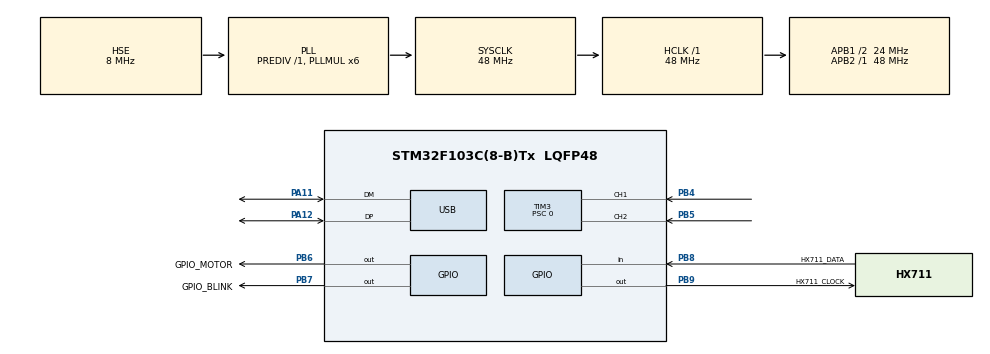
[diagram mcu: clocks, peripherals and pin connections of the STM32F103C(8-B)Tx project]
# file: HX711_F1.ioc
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Mcu.Family=STM32F1
Mcu.Name=STM32F103C(8-B)Tx
Mcu.Package=LQFP48
NVIC.PriorityGroup=NVIC_PRIORITYGROUP_4
NVIC.TIM3_IRQn=true\:0\:0\:false\:false\:true
NVIC.USB_LP_CAN1_RX0_IRQn=true\:0\:0\:false\:false\:true
PA0-WKUP.GPIO_PuPd=GPIO_PULLUP
PA0-WKUP.Signal=S_TIM2_CH1_ETR
PA1.GPIO_PuPd=GPIO_PULLUP
PA1.Signal=S_TIM2_CH2
PA11.Mode=Device
PA11.Signal=USB_DM
PA12.Mode=Device
PA12.Signal=USB_DP
PA13.Mode=Serial_Wire
PA13.Signal=SYS_JTMS-SWDIO
PA14.Mode=Serial_Wire
PA14.Signal=SYS_JTCK-SWCLK
PB4.GPIO_PuPd=GPIO_PULLUP
PB4.Signal=S_TIM3_CH1
PB5.GPIO_PuPd=GPIO_PULLUP
PB5.Signal=S_TIM3_CH2
PB6.GPIO_Label=GPIO_MOTOR
PB6.Signal=GPIO_Output
PB7.GPIO_Label=GPIO_BLINK
PB7.GPIO_ModeDefaultOutputPP=GPIO_MODE_OUTPUT_PP
PB7.Signal=GPIO_Output
PB8.GPIO_Label=HX711_DATA
PB8.GPIO_PuPd=GPIO_PULLUP
PB8.Signal=GPIO_Input
PB9.GPIO_Label=HX711_CLOCK
PB9.Signal=GPIO_Output
PD0-OSC_IN.Mode=HSE-External-Oscillator
PD0-OSC_IN.Signal=RCC_OSC_IN
PD1-OSC_OUT.Mode=HSE-External-Oscillator
PD1-OSC_OUT.Signal=RCC_OSC_OUT
ProjectManager.HeapSize=0x200
ProjectManager.StackSize=0x400
ProjectManager.TargetToolchain=EWARM
RCC.AHBFreq_Value=48000000
RCC.APB1CLKDivider=RCC_HCLK_DIV2
RCC.APB1Freq_Value=24000000
RCC.APB1TimFreq_Value=48000000
RCC.APB2Freq_Value=48000000
RCC.APB2TimFreq_Value=48000000
RCC.HCLKFreq_Value=48000000
RCC.HSIState=RCC_HSI_ON
RCC.PLLMUL=RCC_PLL_MUL6
RCC.PLLSourceVirtual=RCC_PLLSOURCE_HSE
RCC.SYSCLKFreq_VALUE=48000000
RCC.SYSCLKSource=RCC_SYSCLKSOURCE_PLLCLK
RCC.USBFreq_Value=48000000
SH.S_TIM2_CH1_ETR.0=TIM2_CH1
SH.S_TIM2_CH2.0=TIM2_CH2
SH.S_TIM3_CH1.0=TIM3_CH1,Encoder_Interface
SH.S_TIM3_CH2.0=TIM3_CH2,Encoder_Interface
TIM3.EncoderMode=TIM_ENCODERMODE_TI12
TIM3.Period=65535
TIM3.Prescaler=0
TIM3.TIM_MasterOutputTrigger=TIM_TRGO_UPDATE
USB_DEVICE.CLASS_NAME_FS=CDC
USB_DEVICE.VirtualModeFS=Cdc_FS
VP_USB_DEVICE_VS_USB_DEVICE_CDC_FS.Mode=CDC_FS
board=HX711_F1

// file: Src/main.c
/**
  ******************************************************************************
  * File Name          : main.c
  * Description        : Main program body
  ******************************************************************************
  *
  * Copyright (c) 2017 STMicroelectronics International N.V.
  * All rights reserved.
  *
  * Redistribution and use in source and binary forms, with or without
  * modification, are permitted, provided that the following conditions are met:
  *
  * 1. Redistribution of source code must retain the above copyright notice,
  *    this list of conditions and the following disclaimer.
  * 2. Redistributions in binary form must reproduce the above copyright notice,
  *    this list of conditions and the following disclaimer in the documentation
  *    and/or other materials provided with the distribution.
  * 3. Neither the name of STMicroelectronics nor the names of other
  *    contributors to this software may be used to endorse or promote products
  *    derived from this software without specific written permission.
  * 4. This software, including modifications and/or derivative works of this
  *    software, must execute solely and exclusively on microcontroller or
  *    microprocessor devices manufactured by or for STMicroelectronics.
  * 5. Redistribution and use of this software other than as permitted under
  *    this license is void and will automatically terminate your rights under
  *    this license.
  *
  * THIS SOFTWARE IS PROVIDED BY STMICROELECTRONICS AND CONTRIBUTORS "AS IS"
  * AND ANY EXPRESS, IMPLIED OR STATUTORY WARRANTIES, INCLUDING, BUT NOT
  * LIMITED TO, THE IMPLIED WARRANTIES OF MERCHANTABILITY, FITNESS FOR A
  * PARTICULAR PURPOSE AND NON-INFRINGEMENT OF THIRD PARTY INTELLECTUAL PROPERTY
  * RIGHTS ARE DISCLAIMED TO THE FULLEST EXTENT PERMITTED BY LAW. IN NO EVENT
  * SHALL STMICROELECTRONICS OR CONTRIBUTORS BE LIABLE FOR ANY DIRECT, INDIRECT,
  * INCIDENTAL, SPECIAL, EXEMPLARY, OR CONSEQUENTIAL DAMAGES (INCLUDING, BUT NOT
  * LIMITED TO, PROCUREMENT OF SUBSTITUTE GOODS OR SERVICES; LOSS OF USE, DATA,
  * OR PROFITS; OR BUSINESS INTERRUPTION) HOWEVER CAUSED AND ON ANY THEORY OF
  * LIABILITY, WHETHER IN CONTRACT, STRICT LIABILITY, OR TORT (INCLUDING
  * NEGLIGENCE OR OTHERWISE) ARISING IN ANY WAY OUT OF THE USE OF THIS SOFTWARE,
  * EVEN IF ADVISED OF THE POSSIBILITY OF SUCH DAMAGE.
  *
  ******************************************************************************
  */
#include "main.h"
#include "stm32f1xx_hal.h"
#include "usb_device.h"

/* USER CODE BEGIN Includes */
/*#include "usbd_cdc_if.h"
#include <stdlib.h>
#include <string.h>*/
/* USER CODE END Includes */

TIM_HandleTypeDef htim3;

/* USER CODE BEGIN PV */
/* Private variables ---------------------------------------------------------*/

/* USER CODE END PV */

void SystemClock_Config(void);
void Error_Handler(void);
static void MX_GPIO_Init(void);
static void MX_TIM3_Init(void);

/* USER CODE BEGIN PFP */
/* Private function prototypes -----------------------------------------------*/
extern uint8_t CDC_Transmit_FS(uint8_t* Buf, uint16_t Len);
//extern void HAL_Delay(__IO uint32_t Delay);
/* USER CODE END PFP */

/* USER CODE BEGIN 0 */
 uint8_t dataToSend[256];
 uint8_t l;
 int weight;
 int count;

/* USER CODE END 0 */

int main(void)
{

  /* USER CODE BEGIN 1 */
  for (uint8_t i = 0; i < 255; i++)
  {
    dataToSend[i] = 0;
  }
  /* USER CODE END 1 */

  /* MCU Configuration----------------------------------------------------------*/

  /* Reset of all peripherals, Initializes the Flash interface and the Systick. */
  HAL_Init();

  /* Configure the system clock */
  SystemClock_Config();

  /* Initialize all configured peripherals */
  MX_GPIO_Init();
  MX_USB_DEVICE_Init();
  MX_TIM3_Init();

  /* USER CODE BEGIN 2 */
  //Ресет микросхемы HX711
    HAL_GPIO_WritePin(HX711_CLOCK_GPIO_Port, HX711_CLOCK_Pin, GPIO_PIN_SET);  //PIN1
    HAL_Delay(50);
    HAL_GPIO_WritePin(HX711_CLOCK_GPIO_Port, HX711_CLOCK_Pin, GPIO_PIN_RESET);

    HAL_TIM_Base_Start(&htim3);
    HAL_TIM_Base_Start_IT(&htim3); //ЗАПУСК ПРЕРЫВАНИЙ ТАЙМЕРА

    count=0;

  /* USER CODE END 2 */

  /* Infinite loop */
  /* USER CODE BEGIN WHILE */
  while (1)
  {
//    sprintf((char*)dataToSend, "\r\n TEST");
//    l=strlen((char*)dataToSend);
//    CDC_Transmit_FS(dataToSend, l);
    HAL_GPIO_TogglePin(GPIO_BLINK_GPIO_Port, GPIO_BLINK_Pin );
    HAL_Delay(5);
    //==============================================================================
    volatile int buffer;
    buffer = 0;
    while (HAL_GPIO_ReadPin(HX711_DATA_GPIO_Port, HX711_DATA_Pin) == GPIO_PIN_SET);
    //for(int n=0;n<1;n++)__no_operation();

    for (uint8_t i = 0; i < 24; i++)
    {
    	HAL_GPIO_WritePin(HX711_CLOCK_GPIO_Port, HX711_CLOCK_Pin, GPIO_PIN_SET);

        buffer = buffer << 1 ;
        //for(int n=0;n<5;n++)__no_operation();

        if (HAL_GPIO_ReadPin(HX711_DATA_GPIO_Port, HX711_DATA_Pin))
        {
            buffer ++;
        }

        HAL_GPIO_WritePin(HX711_CLOCK_GPIO_Port, HX711_CLOCK_Pin, GPIO_PIN_RESET);
    }
    //25-й импульс
    HAL_GPIO_WritePin(HX711_CLOCK_GPIO_Port, HX711_CLOCK_Pin, GPIO_PIN_SET);
    //for(int n=0;n<5;n++)__no_operation();
    HAL_GPIO_WritePin(HX711_CLOCK_GPIO_Port, HX711_CLOCK_Pin, GPIO_PIN_RESET);
    /*
     HAL_GPIO_WritePin(HX711_CLOCK_GPIO_Port, HX711_CLOCK_Pin, GPIO_PIN_SET);
    //for(int n=0;n<5;n++)__no_operation();
    HAL_GPIO_WritePin(HX711_CLOCK_GPIO_Port, HX711_CLOCK_Pin, GPIO_PIN_RESET);

     HAL_GPIO_WritePin(HX711_CLOCK_GPIO_Port, HX711_CLOCK_Pin, GPIO_PIN_SET);
    //for(int n=0;n<5;n++)__no_operation();
    HAL_GPIO_WritePin(HX711_CLOCK_GPIO_Port, HX711_CLOCK_Pin, GPIO_PIN_RESET);
*/
    //buffer = buffer ^ 0x800000;
    int timerValue = __HAL_TIM_GET_COUNTER(&htim3);
    sprintf((char*)dataToSend, "%05d %05d \n\r",buffer,timerValue);
    weight=buffer;
    l=strlen((char*)dataToSend);

    CDC_Transmit_FS(dataToSend, l);
    HAL_Delay(5);
  /* USER CODE END WHILE */

  }

}

/** System Clock Configuration
*/
void SystemClock_Config(void)
{

  RCC_OscInitTypeDef RCC_OscInitStruct;
  RCC_ClkInitTypeDef RCC_ClkInitStruct;
  RCC_PeriphCLKInitTypeDef PeriphClkInit;

    /**Initializes the CPU, AHB and APB busses clocks
    */
  RCC_OscInitStruct.OscillatorType = RCC_OSCILLATORTYPE_HSE;
  RCC_OscInitStruct.HSEState = RCC_HSE_ON;
  RCC_OscInitStruct.HSEPredivValue = RCC_HSE_PREDIV_DIV1;
  RCC_OscInitStruct.HSIState = RCC_HSI_ON;
  RCC_OscInitStruct.PLL.PLLState = RCC_PLL_ON;
  RCC_OscInitStruct.PLL.PLLSource = RCC_PLLSOURCE_HSE;
  RCC_OscInitStruct.PLL.PLLMUL = RCC_PLL_MUL6;
  if (HAL_RCC_OscConfig(&RCC_OscInitStruct) != HAL_OK)
  {
    Error_Handler();
  }

    /**Initializes the CPU, AHB and APB busses clocks
    */
  RCC_ClkInitStruct.ClockType = RCC_CLOCKTYPE_HCLK|RCC_CLOCKTYPE_SYSCLK
                              |RCC_CLOCKTYPE_PCLK1|RCC_CLOCKTYPE_PCLK2;
  RCC_ClkInitStruct.SYSCLKSource = RCC_SYSCLKSOURCE_PLLCLK;
  RCC_ClkInitStruct.AHBCLKDivider = RCC_SYSCLK_DIV1;
  RCC_ClkInitStruct.APB1CLKDivider = RCC_HCLK_DIV2;
  RCC_ClkInitStruct.APB2CLKDivider = RCC_HCLK_DIV1;

  if (HAL_RCC_ClockConfig(&RCC_ClkInitStruct, FLASH_LATENCY_1) != HAL_OK)
  {
    Error_Handler();
  }

  PeriphClkInit.PeriphClockSelection = RCC_PERIPHCLK_USB;
  PeriphClkInit.UsbClockSelection = RCC_USBCLKSOURCE_PLL;
  if (HAL_RCCEx_PeriphCLKConfig(&PeriphClkInit) != HAL_OK)
  {
    Error_Handler();
  }

    /**Configure the Systick interrupt time
    */
  HAL_SYSTICK_Config(HAL_RCC_GetHCLKFreq()/1000);

    /**Configure the Systick
    */
  HAL_SYSTICK_CLKSourceConfig(SYSTICK_CLKSOURCE_HCLK);

  /* SysTick_IRQn interrupt configuration */
  HAL_NVIC_SetPriority(SysTick_IRQn, 0, 0);
}

/* TIM3 init function */
static void MX_TIM3_Init(void)
{

  TIM_Encoder_InitTypeDef sConfig;
  TIM_MasterConfigTypeDef sMasterConfig;

  htim3.Instance = TIM3;
  htim3.Init.Prescaler = 0;
  htim3.Init.CounterMode = TIM_COUNTERMODE_UP;
  htim3.Init.Period = 65535;
  htim3.Init.ClockDivision = TIM_CLOCKDIVISION_DIV1;
  sConfig.EncoderMode = TIM_ENCODERMODE_TI12;
  sConfig.IC1Polarity = TIM_ICPOLARITY_RISING;
  sConfig.IC1Selection = TIM_ICSELECTION_DIRECTTI;
  sConfig.IC1Prescaler = TIM_ICPSC_DIV1;
  sConfig.IC1Filter = 0;
  sConfig.IC2Polarity = TIM_ICPOLARITY_RISING;
  sConfig.IC2Selection = TIM_ICSELECTION_DIRECTTI;
  sConfig.IC2Prescaler = TIM_ICPSC_DIV1;
  sConfig.IC2Filter = 0;
  if (HAL_TIM_Encoder_Init(&htim3, &sConfig) != HAL_OK)
  {
    Error_Handler();
  }

  sMasterConfig.MasterOutputTrigger = TIM_TRGO_UPDATE;
  sMasterConfig.MasterSlaveMode = TIM_MASTERSLAVEMODE_DISABLE;
  if (HAL_TIMEx_MasterConfigSynchronization(&htim3, &sMasterConfig) != HAL_OK)
  {
    Error_Handler();
  }

}

/** Configure pins as
        * Analog
        * Input
        * Output
        * EVENT_OUT
        * EXTI
     PA0-WKUP   ------> S_TIM2_CH1_ETR
     PA1   ------> S_TIM2_CH2
*/
static void MX_GPIO_Init(void)
{

  GPIO_InitTypeDef GPIO_InitStruct;

  /* GPIO Ports Clock Enable */
  __HAL_RCC_GPIOD_CLK_ENABLE();
  __HAL_RCC_GPIOA_CLK_ENABLE();
  __HAL_RCC_GPIOB_CLK_ENABLE();

  /*Configure GPIO pin Output Level */
  HAL_GPIO_WritePin(GPIOB, GPIO_MOTOR_Pin|GPIO_BLINK_Pin|HX711_CLOCK_Pin, GPIO_PIN_RESET);

  /*Configure GPIO pins : PA0 PA1 */
  GPIO_InitStruct.Pin = GPIO_PIN_0|GPIO_PIN_1;
  GPIO_InitStruct.Mode = GPIO_MODE_AF_PP;
  GPIO_InitStruct.Speed = GPIO_SPEED_FREQ_LOW;
  HAL_GPIO_Init(GPIOA, &GPIO_InitStruct);

  /*Configure GPIO pins : GPIO_MOTOR_Pin GPIO_BLINK_Pin HX711_CLOCK_Pin */
  GPIO_InitStruct.Pin = GPIO_MOTOR_Pin|GPIO_BLINK_Pin|HX711_CLOCK_Pin;
  GPIO_InitStruct.Mode = GPIO_MODE_OUTPUT_PP;
  GPIO_InitStruct.Speed = GPIO_SPEED_FREQ_LOW;
  HAL_GPIO_Init(GPIOB, &GPIO_InitStruct);

  /*Configure GPIO pin : HX711_DATA_Pin */
  GPIO_InitStruct.Pin = HX711_DATA_Pin;
  GPIO_InitStruct.Mode = GPIO_MODE_INPUT;
  GPIO_InitStruct.Pull = GPIO_PULLUP;
  HAL_GPIO_Init(HX711_DATA_GPIO_Port, &GPIO_InitStruct);

}

void Error_Handler(void)
{
  while(1)
  {
  }
}

/************************ (C) COPYRIGHT STMicroelectronics *****END OF FILE****/
